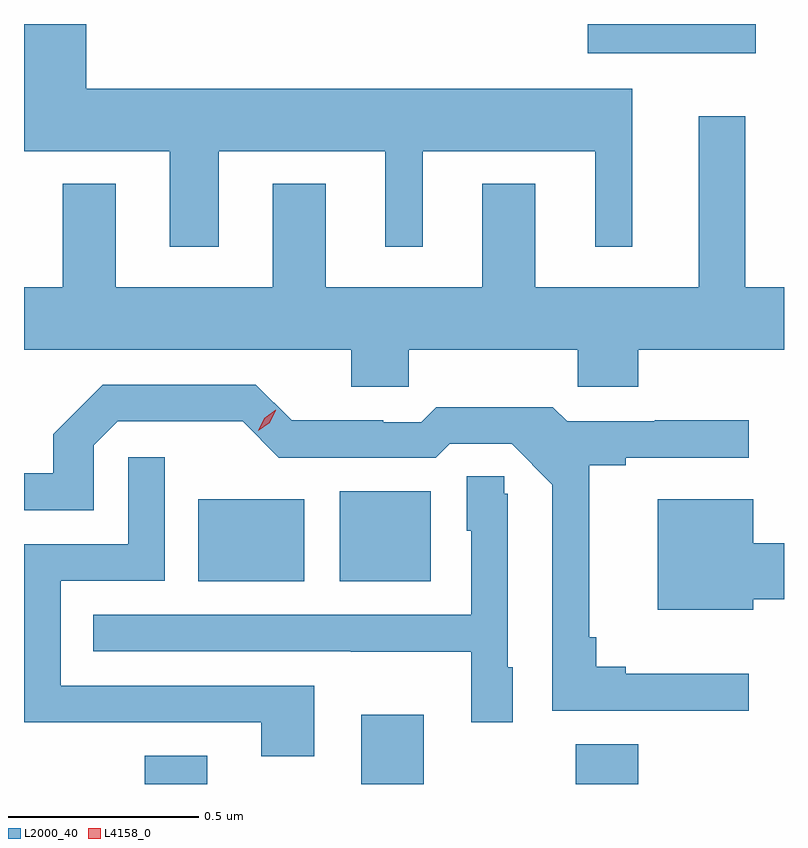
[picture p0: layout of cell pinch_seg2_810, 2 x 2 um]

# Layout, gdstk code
import gdstk
lib = gdstk.Library(unit=1e-6, precision=1e-09)
def R(c, l, rs):  # rectangles x0, y0, x1, y1
    for r in rs: c.add(gdstk.rectangle(r[:2], r[2:], *l))
def P(c, l, *ps):  # polygons
    for p in ps: c.add(gdstk.Polygon(p, *l))
L2000_40 = (2000, 40)
L4158_0 = (4158, 0)

pinch_seg2_810 = lib.new_cell('pinch_seg2_810')
R(pinch_seg2_810, L2000_40, [(743.753,598.541,743.917,598.615), (744.323,598.541,744.487,598.723), (744.887,598.541,745.051,598.645), (743.894,599.075,744.172,599.29), (744.266,599.075,744.505,599.311), (744.918,600.464,745.361,600.541)])
P(pinch_seg2_810, L2000_40, [(743.947,600.206),(744.386,600.206),(744.386,599.955),(744.484,599.955),(744.484,600.206),(744.938,600.206),(744.938,599.955),(745.036,599.955),(745.036,600.37),(743.599,600.37),(743.599,600.541),(743.435,600.541),(743.435,600.206),(743.819,600.206),(743.819,599.955),(743.947,599.955)],
  [(744.447,599.684),(744.892,599.684),(744.892,599.586),(745.052,599.586),(745.052,599.684),(745.435,599.684),(745.435,599.848),(745.333,599.848),(745.333,600.298),(745.211,600.298),(745.211,599.848),(744.781,599.848),(744.781,600.121),(744.641,600.121),(744.641,599.848),(744.229,599.848),(744.229,600.121),(744.089,600.121),(744.089,599.848),(743.677,599.848),(743.677,600.121),(743.537,600.121),(743.537,599.848),(743.435,599.848),(743.435,599.684),(744.296,599.684),(744.296,599.586),(744.447,599.586)],
  [(745.342,598.831),(745.018,598.831),(745.018,598.85),(744.941,598.85),(744.941,598.927),(744.923,598.927),(744.923,599.38),(745.018,599.38),(745.018,599.4),(745.342,599.4),(745.342,599.498),(745.095,599.498),(745.095,599.496),(744.864,599.496),(744.827,599.533),(744.52,599.533),(744.48,599.493),(744.38,599.493),(744.38,599.498),(744.14,599.498),(744.045,599.592),(743.642,599.592),(743.512,599.462),(743.512,599.359),(743.435,599.359),(743.435,599.262),(743.619,599.262),(743.619,599.433),(743.682,599.496),(743.906,599.496),(743.906,599.495),(744.011,599.495),(744.105,599.4),(744.519,599.4),(744.555,599.436),(744.718,599.436),(744.825,599.329),(744.825,598.734),(745.342,598.734)],
  [(744.199,598.8),(743.532,598.8),(743.532,599.076),(743.805,599.076),(743.805,599.401),(743.709,599.401),(743.709,599.172),(743.436,599.172),(743.436,598.89),(743.435,598.89),(743.435,598.703),(743.629,598.703),(743.629,598.704),(744.059,598.704),(744.059,598.614),(744.199,598.614)],
  [(744.721,598.848),(744.708,598.848),(744.708,599.305),(744.699,599.305),(744.699,599.351),(744.6,599.351),(744.6,599.208),(744.612,599.208),(744.612,598.986),(743.617,598.986),(743.617,598.89),(744.295,598.89),(744.295,598.889),(744.612,598.889),(744.612,598.704),(744.721,598.704)],
  [(745.354,599.027),(745.435,599.027),(745.435,599.174),(745.354,599.174),(745.354,599.29),(745.103,599.29),(745.103,599),(745.354,599)])
P(pinch_seg2_810, L4158_0, [(744.051,599.47),(744.051,599.471),(744.067,599.504),(744.097,599.526),(744.098,599.526),(744.098,599.525),(744.082,599.492),(744.051,599.47)])

lib.write_gds('pinch_seg2_810.gds')
